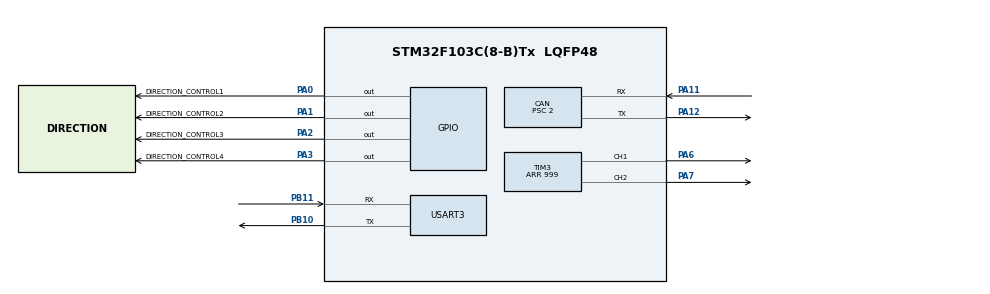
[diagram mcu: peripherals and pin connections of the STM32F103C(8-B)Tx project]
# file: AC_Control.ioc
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CAN.BS1=CAN_BS1_13TQ
CAN.BS2=CAN_BS2_2TQ
CAN.CalculateBaudRate=250000
CAN.CalculateTimeBit=4000
CAN.CalculateTimeQuantum=250.0
CAN.NART=DISABLE
CAN.Prescaler=2
Mcu.Family=STM32F1
Mcu.Name=STM32F103C(8-B)Tx
Mcu.Package=LQFP48
NVIC.PriorityGroup=NVIC_PRIORITYGROUP_4
NVIC.TIM1_UP_IRQn=true\:15\:0\:false\:false\:true\:false\:true\:true
NVIC.TimeBase=TIM1_UP_IRQn
NVIC.TimeBaseIP=TIM1
NVIC.USB_LP_CAN1_RX0_IRQn=true\:6\:0\:true\:false\:true\:true\:true\:true
PA0-WKUP.GPIO_Label=DIRECTION_CONTROL1
PA0-WKUP.Signal=GPIO_Output
PA1.GPIO_Label=DIRECTION_CONTROL2
PA1.Signal=GPIO_Output
PA11.Mode=CAN_Activate
PA11.Signal=CAN_RX
PA12.Mode=CAN_Activate
PA12.Signal=CAN_TX
PA13.Mode=Serial_Wire
PA13.Signal=SYS_JTMS-SWDIO
PA14.Mode=Serial_Wire
PA14.Signal=SYS_JTCK-SWCLK
PA2.GPIO_Label=DIRECTION_CONTROL3
PA2.Signal=GPIO_Output
PA3.GPIO_Label=DIRECTION_CONTROL4
PA3.Signal=GPIO_Output
PA6.GPIO_ModeDefaultPP=GPIO_MODE_AF_PP
PA6.Signal=S_TIM3_CH1
PA7.GPIO_ModeDefaultPP=GPIO_MODE_AF_PP
PA7.Signal=S_TIM3_CH2
PB10.Mode=Asynchronous
PB10.Signal=USART3_TX
PB11.Mode=Asynchronous
PB11.Signal=USART3_RX
ProjectManager.HeapSize=0x200
ProjectManager.StackSize=0x400
ProjectManager.TargetToolchain=CMake
RCC.APB1Freq_Value=8000000
RCC.APB2Freq_Value=8000000
SH.S_TIM3_CH1.0=TIM3_CH1,PWM Generation1 CH1
SH.S_TIM3_CH2.0=TIM3_CH2,PWM Generation2 CH2
TIM3.Channel-PWM\ Generation1\ CH1=TIM_CHANNEL_1
TIM3.Channel-PWM\ Generation2\ CH2=TIM_CHANNEL_2
TIM3.Period=999
USART3.VirtualMode=VM_ASYNC
VP_SYS_VS_tim1.Mode=TIM1
VP_TIM3_VS_ClockSourceINT.Mode=Internal
board=custom

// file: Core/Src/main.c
/* USER CODE BEGIN Header */
/**
  ******************************************************************************
  * @file           : main.c
  * @brief          : Main program body
  ******************************************************************************
  * @attention
  *
  * Copyright (c) 2025 STMicroelectronics.
  * All rights reserved.
  *
  * This software is licensed under terms that can be found in the LICENSE file
  * in the root directory of this software component.
  * If no LICENSE file comes with this software, it is provided AS-IS.
  *
  ******************************************************************************
  */
/* USER CODE END Header */
#include "main.h"

/* USER CODE BEGIN Includes */
#include "ac_driver.h"
/* USER CODE END Includes */

CAN_HandleTypeDef hcan;

TIM_HandleTypeDef htim3;

UART_HandleTypeDef huart3;

/* USER CODE BEGIN PV */

static TaskHandle_t MotorControlTaskHandle = NULL;

#define PACK_MOTOR_COMMAND(id, dir, spd)   (((id & 0xFF) << 16) | ((dir & 0xFF) << 8) | (spd & 0xFF))
#define UNPACK_MOTOR_ID(val)               ((uint8_t)((val >> 16) & 0xFF))
#define UNPACK_DIRECTION(val)              ((uint8_t)((val >> 8) & 0xFF))
#define UNPACK_SPEED(val)                  ((uint8_t)(val & 0xFF))

// CAN_HandleTypeDef hcan;

// TIM_HandleTypeDef htim3;

// UART_HandleTypeDef huart3;

/* USER CODE END PV */

void SystemClock_Config(void);
static void MX_GPIO_Init(void);
static void MX_TIM3_Init(void);
static void MX_CAN_Init(void);
static void MX_USART3_UART_Init(void);

/* USER CODE BEGIN 0 */
void MotorControlTask(void *Copy_pvParams);
void CAN_Init_Filter(void);
/* USER CODE END 0 */

int main(void)
{

  /* USER CODE BEGIN 1 */
  BaseType_t Loc_xTaskStatus = pdFAIL;

  /* USER CODE END 1 */

  /* MCU Configuration--------------------------------------------------------*/

  /* Reset of all peripherals, Initializes the Flash interface and the Systick. */
  HAL_Init();

  /* Configure the system clock */
  SystemClock_Config();

  /* Initialize all configured peripherals */
  HAL_NVIC_SetPriority(CAN1_RX0_IRQn, 6, 0);
  HAL_NVIC_EnableIRQ(CAN1_RX0_IRQn);
  MX_GPIO_Init();
  MX_TIM3_Init();
  MX_CAN_Init();
  MX_USART3_UART_Init();
  /* USER CODE BEGIN 2 */
  Motor_Init();

  Loc_xTaskStatus = xTaskCreate(&MotorControlTask, "ACTask", 100UL, NULL, 1UL, &MotorControlTaskHandle);
  configASSERT(Loc_xTaskStatus == pdPASS);

  CAN_Init_Filter();
  HAL_CAN_Start(&hcan);
  HAL_CAN_ActivateNotification(&hcan, CAN_IT_RX_FIFO0_MSG_PENDING);
  HAL_UART_Transmit(&huart3, (uint8_t*)"CAN RX Ready\r\n", 14, HAL_MAX_DELAY);

  vTaskStartScheduler();
  /* USER CODE END 2 */

  /* Infinite loop */
  while (1)
  {

  }
}

void SystemClock_Config(void)
{
  RCC_OscInitTypeDef RCC_OscInitStruct = {0};
  RCC_ClkInitTypeDef RCC_ClkInitStruct = {0};

  /** Initializes the RCC Oscillators according to the specified parameters
  * in the RCC_OscInitTypeDef structure.
  */
  RCC_OscInitStruct.OscillatorType = RCC_OSCILLATORTYPE_HSI;
  RCC_OscInitStruct.HSIState = RCC_HSI_ON;
  RCC_OscInitStruct.HSICalibrationValue = RCC_HSICALIBRATION_DEFAULT;
  RCC_OscInitStruct.PLL.PLLState = RCC_PLL_NONE;
  if (HAL_RCC_OscConfig(&RCC_OscInitStruct) != HAL_OK)
  {
    Error_Handler();
  }

  /** Initializes the CPU, AHB and APB buses clocks
  */
  RCC_ClkInitStruct.ClockType = RCC_CLOCKTYPE_HCLK|RCC_CLOCKTYPE_SYSCLK
                              |RCC_CLOCKTYPE_PCLK1|RCC_CLOCKTYPE_PCLK2;
  RCC_ClkInitStruct.SYSCLKSource = RCC_SYSCLKSOURCE_HSI;
  RCC_ClkInitStruct.AHBCLKDivider = RCC_SYSCLK_DIV1;
  RCC_ClkInitStruct.APB1CLKDivider = RCC_HCLK_DIV1;
  RCC_ClkInitStruct.APB2CLKDivider = RCC_HCLK_DIV1;

  if (HAL_RCC_ClockConfig(&RCC_ClkInitStruct, FLASH_LATENCY_0) != HAL_OK)
  {
    Error_Handler();
  }
}

static void MX_CAN_Init(void)
{

  hcan.Instance = CAN1;
  hcan.Init.Prescaler = 2;
  hcan.Init.Mode = CAN_MODE_NORMAL;
  hcan.Init.SyncJumpWidth = CAN_SJW_1TQ;
  hcan.Init.TimeSeg1 = CAN_BS1_13TQ;
  hcan.Init.TimeSeg2 = CAN_BS2_2TQ;
  hcan.Init.TimeTriggeredMode = DISABLE;
  hcan.Init.AutoBusOff = DISABLE;
  hcan.Init.AutoWakeUp = DISABLE;
  hcan.Init.AutoRetransmission = DISABLE;
  hcan.Init.ReceiveFifoLocked = DISABLE;
  hcan.Init.TransmitFifoPriority = DISABLE;
  if (HAL_CAN_Init(&hcan) != HAL_OK)
  {
    Error_Handler();
  }

}

static void MX_TIM3_Init(void)
{

  TIM_ClockConfigTypeDef sClockSourceConfig = {0};
  TIM_MasterConfigTypeDef sMasterConfig = {0};
  TIM_OC_InitTypeDef sConfigOC = {0};

  htim3.Instance = TIM3;
  htim3.Init.Prescaler = 0;
  htim3.Init.CounterMode = TIM_COUNTERMODE_UP;
  htim3.Init.Period = 999;
  htim3.Init.ClockDivision = TIM_CLOCKDIVISION_DIV1;
  htim3.Init.AutoReloadPreload = TIM_AUTORELOAD_PRELOAD_DISABLE;
  if (HAL_TIM_Base_Init(&htim3) != HAL_OK)
  {
    Error_Handler();
  }
  sClockSourceConfig.ClockSource = TIM_CLOCKSOURCE_INTERNAL;
  if (HAL_TIM_ConfigClockSource(&htim3, &sClockSourceConfig) != HAL_OK)
  {
    Error_Handler();
  }
  if (HAL_TIM_PWM_Init(&htim3) != HAL_OK)
  {
    Error_Handler();
  }
  sMasterConfig.MasterOutputTrigger = TIM_TRGO_RESET;
  sMasterConfig.MasterSlaveMode = TIM_MASTERSLAVEMODE_DISABLE;
  if (HAL_TIMEx_MasterConfigSynchronization(&htim3, &sMasterConfig) != HAL_OK)
  {
    Error_Handler();
  }
  sConfigOC.OCMode = TIM_OCMODE_PWM1;
  sConfigOC.Pulse = 0;
  sConfigOC.OCPolarity = TIM_OCPOLARITY_HIGH;
  sConfigOC.OCFastMode = TIM_OCFAST_DISABLE;
  if (HAL_TIM_PWM_ConfigChannel(&htim3, &sConfigOC, TIM_CHANNEL_1) != HAL_OK)
  {
    Error_Handler();
  }
  if (HAL_TIM_PWM_ConfigChannel(&htim3, &sConfigOC, TIM_CHANNEL_2) != HAL_OK)
  {
    Error_Handler();
  }
  HAL_TIM_MspPostInit(&htim3);

}

static void MX_USART3_UART_Init(void)
{

  huart3.Instance = USART3;
  huart3.Init.BaudRate = 115200;
  huart3.Init.WordLength = UART_WORDLENGTH_8B;
  huart3.Init.StopBits = UART_STOPBITS_1;
  huart3.Init.Parity = UART_PARITY_NONE;
  huart3.Init.Mode = UART_MODE_TX_RX;
  huart3.Init.HwFlowCtl = UART_HWCONTROL_NONE;
  huart3.Init.OverSampling = UART_OVERSAMPLING_16;
  if (HAL_UART_Init(&huart3) != HAL_OK)
  {
    Error_Handler();
  }

}

static void MX_GPIO_Init(void)
{
  GPIO_InitTypeDef GPIO_InitStruct = {0};

  /* GPIO Ports Clock Enable */
  __HAL_RCC_GPIOA_CLK_ENABLE();
  __HAL_RCC_GPIOB_CLK_ENABLE();

  /*Configure GPIO pin Output Level */
  HAL_GPIO_WritePin(GPIOA, DIRECTION_CONTROL1_Pin|DIRECTION_CONTROL2_Pin|DIRECTION_CONTROL3_Pin|DIRECTION_CONTROL4_Pin, GPIO_PIN_RESET);

  /*Configure GPIO pins : DIRECTION_CONTROL1_Pin DIRECTION_CONTROL2_Pin DIRECTION_CONTROL3_Pin DIRECTION_CONTROL4_Pin */
  GPIO_InitStruct.Pin = DIRECTION_CONTROL1_Pin|DIRECTION_CONTROL2_Pin|DIRECTION_CONTROL3_Pin|DIRECTION_CONTROL4_Pin;
  GPIO_InitStruct.Mode = GPIO_MODE_OUTPUT_PP;
  GPIO_InitStruct.Pull = GPIO_NOPULL;
  GPIO_InitStruct.Speed = GPIO_SPEED_FREQ_LOW;
  HAL_GPIO_Init(GPIOA, &GPIO_InitStruct);

}

/* USER CODE BEGIN 4 */

void CAN_Init_Filter(void)
{
  CAN_FilterTypeDef sFilterConfig;
  sFilterConfig.FilterBank = 0;
  sFilterConfig.FilterMode = CAN_FILTERMODE_IDMASK;
  sFilterConfig.FilterScale = CAN_FILTERSCALE_32BIT;
  // filtring only the motor message
  // Set ID: 0x450 << 5 = 0x8A00 → High = 0x0000, Low = 0x8A00
  sFilterConfig.FilterIdHigh = 0x0000;
  sFilterConfig.FilterIdLow  = 0x0000;
  // Mask: Match only the 11-bit Std ID → Mask is 0xFFE0
  sFilterConfig.FilterMaskIdHigh = 0x0000;
  sFilterConfig.FilterMaskIdLow  = 0x0000;
  sFilterConfig.FilterFIFOAssignment = CAN_FILTER_FIFO0;
  sFilterConfig.FilterActivation = ENABLE;
  sFilterConfig.SlaveStartFilterBank = 14;

  if (HAL_CAN_ConfigFilter(&hcan, &sFilterConfig) != HAL_OK)
  {
    Error_Handler();
  }
}

void MotorControlTask(void *Copy_pvParams)
{
    uint32_t notificationValue;

    for (;;)
    {
        if (xTaskNotifyWait(0, 0, &notificationValue, portMAX_DELAY) == pdPASS)
        {
            uint8_t motor_id = UNPACK_MOTOR_ID(notificationValue);
            uint8_t direction = UNPACK_DIRECTION(notificationValue);
            uint8_t speed = UNPACK_SPEED(notificationValue);

            if (speed > 100) speed = 100;

            if (motor_id == 0) {
                MotorA_SetDirection(direction == 0 ? MOTOR_DIR_FORWARD : MOTOR_DIR_BACKWARD);
                MotorA_SetSpeed(speed);
            } else if (motor_id == 1) {
                MotorB_SetDirection(direction == 0 ? MOTOR_DIR_FORWARD : MOTOR_DIR_BACKWARD);
                MotorB_SetSpeed(speed);
            }

            // char msg[64];
            // snprintf(msg, sizeof(msg), "Motor %d: Dir %d, Speed %d\r\n", motor_id, direction, speed);
            // HAL_UART_Transmit(&huart3, (uint8_t*)msg, strlen(msg), HAL_MAX_DELAY);
        }
    }
}

void HAL_CAN_RxFifo0MsgPendingCallback(CAN_HandleTypeDef *hcan)
{
    BaseType_t xHigherPriorityTaskWoken = pdFALSE;
    CAN_RxHeaderTypeDef RxHeader;
    uint8_t RxData[8];
    // HAL_UART_Transmit(&huart3, "Rx interrupt ",7, HAL_MAX_DELAY);
    if (HAL_CAN_GetRxMessage(hcan, CAN_RX_FIFO0, &RxHeader, RxData) == HAL_OK)
    {
        if (RxHeader.DLC >= 3)
        {
            uint32_t packedCmd = PACK_MOTOR_COMMAND(RxData[0], RxData[1], RxData[2]);
            xTaskNotifyFromISR(MotorControlTaskHandle, packedCmd, eSetValueWithOverwrite, &xHigherPriorityTaskWoken);
        }

        portYIELD_FROM_ISR(xHigherPriorityTaskWoken);
    }
}

/* USER CODE END 4 */

void HAL_TIM_PeriodElapsedCallback(TIM_HandleTypeDef *htim)
{
  if (htim->Instance == TIM1)
  {
    HAL_IncTick();
  }
}

void Error_Handler(void)
{
  __disable_irq();
  while (1)
  {
  }
}
